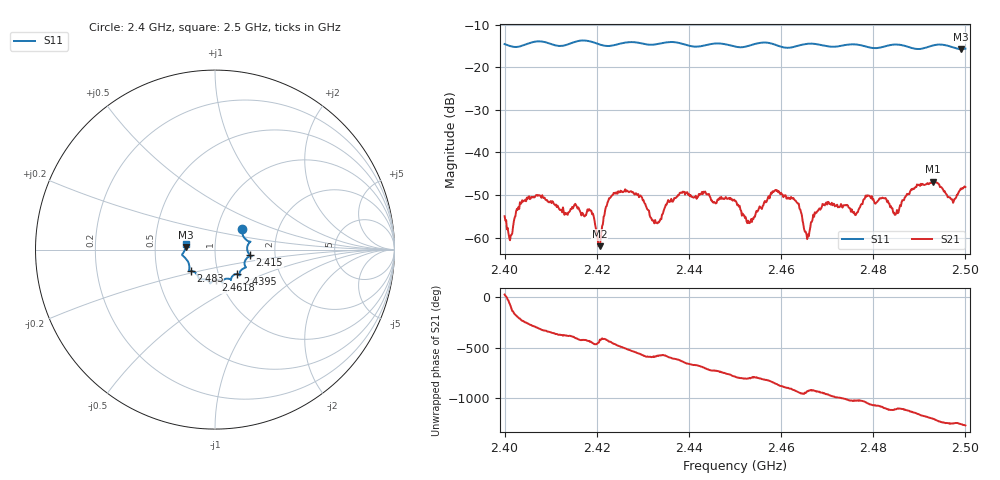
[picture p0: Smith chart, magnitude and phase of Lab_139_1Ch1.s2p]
# Hz S RI R 50
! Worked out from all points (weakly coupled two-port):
!   601 points, 2.4 GHz to 2.5 GHz, reference 50 ohm
!   highest |S21| = -46.84 dB at 2.493 GHz (marker M1); lowest = -62.0 dB at 2.4207 GHz (marker M2)
!   lowest |S11| = -15.7 dB at 2.499 GHz (marker M3), VSWR 1.39, Z = 35.9 + j1.12 ohm
!   |S11| at or under -10 dB: start of sweep to end of sweep
!   S12 and S22 are empty: the file has one direction only
!   S11 on the Smith chart (normalised r, x): 2.4 GHz: 1.31, +0.31; 2.415 GHz: 1.48, -0.10; 2.4395 GHz: 1.23, -0.34; 2.4618 GHz: 0.95, -0.33; 2.483 GHz: 0.74, -0.18; 2.5 GHz: 0.72, +0.05
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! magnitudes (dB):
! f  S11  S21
! 2.4 GHz  -14.5  -55.0
! 2.4013 GHz  -15.0  -59.5
! 2.4035 GHz  -15.0  -52.1
! 2.4072 GHz  -13.9  -50.2
! 2.415 GHz  -14.1  -52.7
! 2.4167 GHz  -13.7  -54.8
! 2.4188 GHz  -13.9  -53.8
! 2.4207 GHz  -14.6  -62.0
! 2.4242 GHz  -14.7  -49.7
! 2.4333 GHz  -14.4  -56.4
! 2.4395 GHz  -14.7  -49.4
! 2.45 GHz  -15.1  -51.4
! 2.4532 GHz  -14.8  -56.6
! 2.4583 GHz  -14.5  -49.3
! 2.4618 GHz  -15.3  -50.7
! 2.4655 GHz  -14.5  -59.1
! 2.4667 GHz  -14.4  -56.3
! 2.483 GHz  -14.9  -51.6
! 2.4833 GHz  -14.8  -51.9
! 2.493 GHz  -14.8  -46.8
! 2.499 GHz  -15.7  -48.5
! 2.5 GHz  -15.6  -48.1
